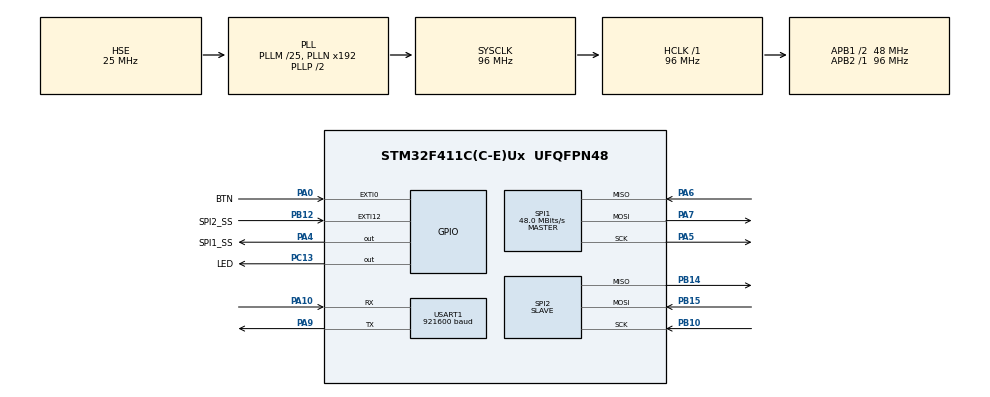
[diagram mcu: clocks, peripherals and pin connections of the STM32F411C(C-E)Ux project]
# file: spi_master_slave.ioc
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Mcu.Family=STM32F4
Mcu.Name=STM32F411C(C-E)Ux
Mcu.Package=UFQFPN48
NVIC.EXTI0_IRQn=true\:0\:0\:false\:false\:true\:true\:true
NVIC.EXTI15_10_IRQn=true\:0\:0\:false\:false\:true\:true\:true
NVIC.PriorityGroup=NVIC_PRIORITYGROUP_4
NVIC.SPI1_IRQn=true\:0\:0\:false\:false\:true\:true\:true
NVIC.SPI2_IRQn=true\:0\:0\:false\:false\:true\:true\:true
PA0-WKUP.GPIO_Label=BTN
PA0-WKUP.GPIO_ModeDefaultEXTI=GPIO_MODE_IT_RISING_FALLING
PA0-WKUP.GPIO_PuPd=GPIO_PULLUP
PA0-WKUP.Signal=GPXTI0
PA10.Mode=Asynchronous
PA10.Signal=USART1_RX
PA4.GPIO_Label=SPI1_SS
PA4.GPIO_Speed=GPIO_SPEED_FREQ_HIGH
PA4.PinState=GPIO_PIN_SET
PA4.Signal=GPIO_Output
PA5.Mode=Full_Duplex_Master
PA5.Signal=SPI1_SCK
PA6.Mode=Full_Duplex_Master
PA6.Signal=SPI1_MISO
PA7.Mode=Full_Duplex_Master
PA7.Signal=SPI1_MOSI
PA9.Mode=Asynchronous
PA9.Signal=USART1_TX
PB10.Mode=Full_Duplex_Slave
PB10.Signal=SPI2_SCK
PB12.GPIO_Label=SPI2_SS
PB12.GPIO_ModeDefaultEXTI=GPIO_MODE_IT_RISING_FALLING
PB12.Signal=GPXTI12
PB14.Mode=Full_Duplex_Slave
PB14.Signal=SPI2_MISO
PB15.Mode=Full_Duplex_Slave
PB15.Signal=SPI2_MOSI
PC13-ANTI_TAMP.GPIO_Label=LED
PC13-ANTI_TAMP.GPIO_ModeDefaultOutputPP=GPIO_MODE_OUTPUT_OD
PC13-ANTI_TAMP.PinState=GPIO_PIN_SET
PC13-ANTI_TAMP.Signal=GPIO_Output
PH0\ -\ OSC_IN.Mode=HSE-External-Oscillator
PH0\ -\ OSC_IN.Signal=RCC_OSC_IN
PH1\ -\ OSC_OUT.Mode=HSE-External-Oscillator
PH1\ -\ OSC_OUT.Signal=RCC_OSC_OUT
ProjectManager.HeapSize=0x200
ProjectManager.StackSize=0x400
ProjectManager.TargetToolchain=STM32CubeIDE
RCC.48MHZClocksFreq_Value=48000000
RCC.AHBFreq_Value=96000000
RCC.APB1CLKDivider=RCC_HCLK_DIV2
RCC.APB1Freq_Value=48000000
RCC.APB1TimFreq_Value=96000000
RCC.APB2Freq_Value=96000000
RCC.APB2TimFreq_Value=96000000
RCC.CortexFreq_Value=96000000
RCC.HCLKFreq_Value=96000000
RCC.HSE_VALUE=25000000
RCC.HSI_VALUE=16000000
RCC.LSE_VALUE=32768
RCC.PLLM=25
RCC.PLLSourceVirtual=RCC_PLLSOURCE_HSE
RCC.SYSCLKFreq_VALUE=96000000
RCC.SYSCLKSource=RCC_SYSCLKSOURCE_PLLCLK
RCC.VCOOutputFreq_Value=192000000
SPI1.BaudRatePrescaler=SPI_BAUDRATEPRESCALER_2
SPI1.CalculateBaudRate=48.0 MBits/s
SPI1.Direction=SPI_DIRECTION_2LINES
SPI1.Mode=SPI_MODE_MASTER
SPI1.VirtualType=VM_MASTER
SPI2.Direction=SPI_DIRECTION_2LINES
SPI2.Mode=SPI_MODE_SLAVE
SPI2.VirtualType=VM_SLAVE
USART1.BaudRate=921600
USART1.VirtualMode=VM_ASYNC
board=custom

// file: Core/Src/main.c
/* USER CODE BEGIN Header */
/**
  ******************************************************************************
  * @file           : main.c
  * @brief          : Main program body
  ******************************************************************************
  * @attention
  *
  * SPI Master and Slave
  *
  ******************************************************************************
  */
/* USER CODE END Header */
#include "main.h"
#include "spi.h"
#include "usart.h"
#include "gpio.h"

/* USER CODE BEGIN Includes */
#include "stdio.h"
/* USER CODE END Includes */

/* USER CODE BEGIN PD */

#define SLAVE_INSTRUCTION_WAIT 0x00
#define SLAVE_INSTRUCTION_FINGERPRINT 0x01
#define SLAVE_INSTRUCTION_RECEIVING 0xff

#define SLAVE_FINGERPRINT 0xdeadbeef

/* USER CODE END PD */

/* USER CODE BEGIN PV */

uint8_t slave_tx_buffer[32];
uint8_t slave_receive_byte;

uint8_t master_tx_buffer[32];
uint8_t master_rx_buffer[32];

uint8_t slave_instruction = 0;

/* USER CODE END PV */

void SystemClock_Config(void);

/* USER CODE BEGIN 0 */

// Send printf to uart1
int _write(int fd, char* ptr, int len) {
  HAL_StatusTypeDef hstatus;

  if (fd == 1 || fd == 2) {
    hstatus = HAL_UART_Transmit(&huart1, (uint8_t *) ptr, len, HAL_MAX_DELAY);
    if (hstatus == HAL_OK)
      return len;
    else
      return -1;
  }
  return -1;
}

void HAL_GPIO_EXTI_Callback(uint16_t GPIO_Pin) {

	if (GPIO_Pin == BTN_Pin) {
		if (HAL_GPIO_ReadPin(BTN_GPIO_Port, BTN_Pin) == GPIO_PIN_SET) {
			DBG("BTN Release");
		} else {
			DBG("BTN Push");
		}
	} else if (GPIO_Pin == SPI2_SS_Pin) {
		if (HAL_GPIO_ReadPin(SPI2_SS_GPIO_Port, SPI2_SS_Pin) == GPIO_PIN_RESET) {
			DBG("SPI2 SS Selected");
			HAL_SPI_Receive_IT(&hspi2, &slave_receive_byte, 1);
		} else {
			DBG("SPI2 SS Done");
			HAL_SPI_Abort(&hspi2);
			slave_instruction = SLAVE_INSTRUCTION_WAIT;
		}
	}

}

void HAL_SPI_RxCpltCallback(SPI_HandleTypeDef *hspi) {
	DBG("RXCB - received 0x%02x", slave_receive_byte);

	switch (slave_instruction) {

	case SLAVE_INSTRUCTION_WAIT:
		slave_instruction = slave_receive_byte;
		HAL_SPI_Receive_IT(&hspi2, &slave_receive_byte, 1);
		break;

	case SLAVE_INSTRUCTION_FINGERPRINT:
		slave_instruction = SLAVE_INSTRUCTION_RECEIVING;
		slave_tx_buffer[0] = (SLAVE_FINGERPRINT & 0xff000000) >> 24;
		slave_tx_buffer[1] = (SLAVE_FINGERPRINT & 0x00ff0000) >> 16;
		slave_tx_buffer[2] = (SLAVE_FINGERPRINT & 0x0000ff00) >> 8;
		slave_tx_buffer[3] = (SLAVE_FINGERPRINT & 0x000000ff);
		HAL_SPI_Transmit_IT(&hspi2, &slave_tx_buffer[0], 5);
		break;

	case SLAVE_INSTRUCTION_RECEIVING:
		break;
//	default:
//		DBG("Unknown SPI instruction 0x%02x", slave_receive_byte);
//		slave_instruction = SLAVE_INSTRUCTION_WAIT;
//		HAL_SPI_Receive_IT(&hspi2, &slave_receive_byte, 1);
	}

}

void HAL_SPI_TxCpltCallback(SPI_HandleTypeDef *hspi) {
	DBG("TXCB");

	HAL_SPI_Receive_IT(&hspi2, &slave_receive_byte, 1);
}

void HAL_SPI_TxRxCpltCallback(SPI_HandleTypeDef *hspi) {
	DBG("TXRXCB");
}

/* USER CODE END 0 */

int main(void)
{

  /* MCU Configuration--------------------------------------------------------*/

  /* Reset of all peripherals, Initializes the Flash interface and the Systick. */
  HAL_Init();

  /* Configure the system clock */
  SystemClock_Config();

  /* Initialize all configured peripherals */
  MX_GPIO_Init();
  MX_SPI1_Init();
  MX_SPI2_Init();
  MX_USART1_UART_Init();

  /* Infinite loop */
  /* USER CODE BEGIN WHILE */

  uint32_t now = 0, last_tick = 0, last_blink = 0, last_spi = 0;;

  while (1)
  {

	  now = HAL_GetTick();

	  if (now - last_blink >= 500) {
		  HAL_GPIO_TogglePin(LED_GPIO_Port, LED_Pin);
		  last_blink = now;
	  }

	  if (now - last_tick >= 1000) {
		  DBG("Tick %lu", now / 1000);
		  last_tick = now;
	  }

	  if (now - last_spi >= 2000) {

		  DBG("Checking slave fingerprint");
		  //memcpy(&master_tx_buffer[0], 0, sizeof(master_tx_buffer));
		  master_tx_buffer[0] = SLAVE_INSTRUCTION_FINGERPRINT;
		  HAL_GPIO_WritePin(SPI1_SS_GPIO_Port, SPI1_SS_Pin, GPIO_PIN_RESET);
		  HAL_SPI_Transmit(&hspi1, &master_tx_buffer[0], 1, HAL_MAX_DELAY);
		  HAL_SPI_Receive(&hspi1, &master_rx_buffer[0], 5, HAL_MAX_DELAY);
		  //HAL_SPI_TransmitReceive(&hspi1, &master_tx_buffer[0], &master_rx_buffer[0], 5, HAL_MAX_DELAY);
		  HAL_GPIO_WritePin(SPI1_SS_GPIO_Port, SPI1_SS_Pin, GPIO_PIN_SET);

		  DBG("Got 0x%02x 0x%02x 0x%02x 0x%02x 0x%02x", master_rx_buffer[0], master_rx_buffer[1], master_rx_buffer[2], master_rx_buffer[3], master_rx_buffer[4]);

		  last_spi = now;
	  }

    /* USER CODE END WHILE */

  }
}

void SystemClock_Config(void)
{
  RCC_OscInitTypeDef RCC_OscInitStruct = {0};
  RCC_ClkInitTypeDef RCC_ClkInitStruct = {0};

  /** Configure the main internal regulator output voltage
  */
  __HAL_RCC_PWR_CLK_ENABLE();
  __HAL_PWR_VOLTAGESCALING_CONFIG(PWR_REGULATOR_VOLTAGE_SCALE1);
  /** Initializes the RCC Oscillators according to the specified parameters
  * in the RCC_OscInitTypeDef structure.
  */
  RCC_OscInitStruct.OscillatorType = RCC_OSCILLATORTYPE_HSE;
  RCC_OscInitStruct.HSEState = RCC_HSE_ON;
  RCC_OscInitStruct.PLL.PLLState = RCC_PLL_ON;
  RCC_OscInitStruct.PLL.PLLSource = RCC_PLLSOURCE_HSE;
  RCC_OscInitStruct.PLL.PLLM = 25;
  RCC_OscInitStruct.PLL.PLLN = 192;
  RCC_OscInitStruct.PLL.PLLP = RCC_PLLP_DIV2;
  RCC_OscInitStruct.PLL.PLLQ = 4;
  if (HAL_RCC_OscConfig(&RCC_OscInitStruct) != HAL_OK)
  {
    Error_Handler();
  }
  /** Initializes the CPU, AHB and APB buses clocks
  */
  RCC_ClkInitStruct.ClockType = RCC_CLOCKTYPE_HCLK|RCC_CLOCKTYPE_SYSCLK
                              |RCC_CLOCKTYPE_PCLK1|RCC_CLOCKTYPE_PCLK2;
  RCC_ClkInitStruct.SYSCLKSource = RCC_SYSCLKSOURCE_PLLCLK;
  RCC_ClkInitStruct.AHBCLKDivider = RCC_SYSCLK_DIV1;
  RCC_ClkInitStruct.APB1CLKDivider = RCC_HCLK_DIV2;
  RCC_ClkInitStruct.APB2CLKDivider = RCC_HCLK_DIV1;

  if (HAL_RCC_ClockConfig(&RCC_ClkInitStruct, FLASH_LATENCY_3) != HAL_OK)
  {
    Error_Handler();
  }
}

void Error_Handler(void)
{
  __disable_irq();
  while (1)
  {
  }
}

/************************ (C) COPYRIGHT STMicroelectronics *****END OF FILE****/
